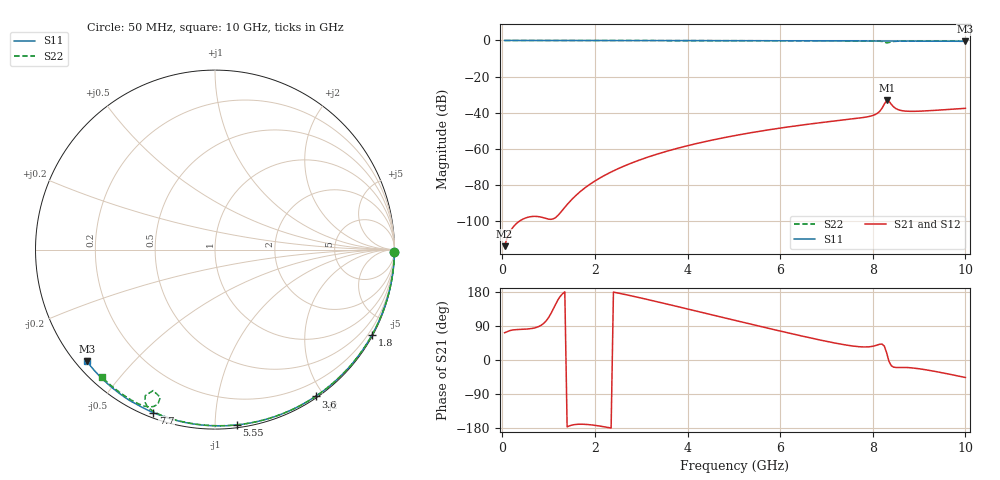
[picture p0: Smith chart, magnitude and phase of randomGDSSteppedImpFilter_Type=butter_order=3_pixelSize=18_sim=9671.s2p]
! freq	dB(S11)	phase(S11)	dB(S12)	phase(S12)
!  dB(S21)	phase(S21)	dB(S22)	phase(S22)
!S-par simulation data
#  GHz  S  DB  R 50
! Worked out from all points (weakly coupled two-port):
!   200 points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, 50 MHz to 10 GHz, reference 50 ohm
!   highest |S21| = -33.20 dB at 8.3 GHz (marker M1); lowest = -113.9 dB at 50 MHz (marker M2)
!   lowest |S11| = -0.5 dB at 10 GHz (marker M3), VSWR 37.06, Z = 1.54 - j18.7 ohm
!   |S11| at or under -10 dB: nowhere
!   |S22| runs from -1.3 to 0.0 dB; largest |S21 - S12| = 0
!   S11 on the Smith chart (normalised r, x): 50 MHz: open; 1.8 GHz: 0.03, -3.94; 3.6 GHz: 0.02, -1.90; 5.55 GHz: 0.02, -1.13; 7.7 GHz: 0.02, -0.69; 10 GHz: 0.03, -0.37
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0.05  -0.00 -0.8  -113.88 72.0  -113.88 72.0  -0.00 -0.8
0.9  -0.02 -14.4  -98.21 97.3  -98.21 97.3  -0.02 -13.7
1.75  -0.04 -27.7  -82.28 -169.6  -82.28 -169.6  -0.03 -26.3
1.8  -0.04 -28.5  -81.30 -169.9  -81.30 -169.9  -0.03 -27.1
1.9  -0.04 -30.0  -79.48 -170.9  -79.48 -170.9  -0.04 -28.5
2.25  -0.05 -35.4  -74.12 -177.3  -74.12 -177.3  -0.04 -33.6
2.65  -0.05 -41.5  -69.31 172.9  -69.31 172.9  -0.05 -39.4
3.4  -0.07 -52.7  -62.48 152.1  -62.48 152.1  -0.07 -50.1
3.6  -0.07 -55.6  -60.98 146.4  -60.98 146.4  -0.07 -52.9
4.3  -0.09 -65.7  -56.45 125.9  -56.45 125.9  -0.09 -62.5
5.05  -0.12 -76.2  -52.52 103.8  -52.52 103.8  -0.11 -72.5
5.55  -0.14 -83.0  -50.30 89.3  -50.30 89.3  -0.13 -79.1
6.7  -0.19 -98.1  -46.06 57.0  -46.06 57.0  -0.18 -93.6
7.7  -0.25 -110.7  -42.99 35.1  -42.99 35.1  -0.25 -106.2
7.95  -0.27 -113.9  -41.90 35.2  -41.90 35.2  -0.29 -109.7
8.1  -0.29 -115.7  -40.31 39.7  -40.31 39.7  -0.37 -112.3
8.2  -0.30 -116.9  -37.54 42.0  -37.54 42.0  -0.58 -114.6
8.3  -0.30 -118.1  -33.20 18.7  -33.20 18.7  -1.33 -113.7
8.35  -0.30 -118.7  -33.62 -3.7  -33.62 -3.7  -1.14 -110.3
8.5  -0.31 -120.6  -37.71 -19.7  -37.71 -19.7  -0.46 -112.4
8.7  -0.33 -123.1  -39.10 -19.6  -39.10 -19.6  -0.37 -115.8
10  -0.47 -138.9  -37.57 -46.2  -37.57 -46.2  -0.45 -131.5
